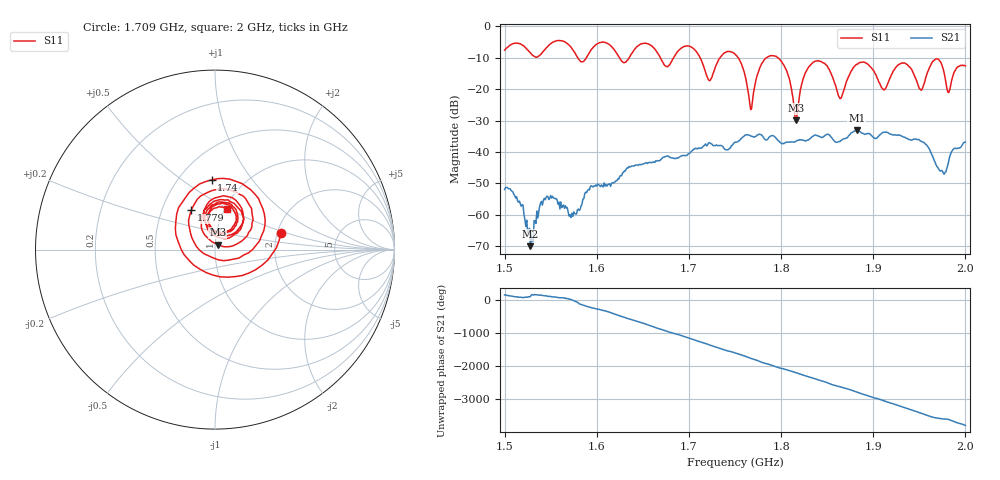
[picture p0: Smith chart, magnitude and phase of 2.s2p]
! NanoVNA-App by SYSJOINT et al v1.1.209 (+OD18)
! Date: 2026-01-21 14:22:12
! Start: 1,5GHz Stop: 2GHz Points: 501
! S-Parameter data: F S11 S21 S12 S22
# Hz S RI R 50
!  Frequency  S11_Real  S11_Imag  S21_Real  S21_Imag  S12_Real  S12_Imag  S22_Real  S22_Imag
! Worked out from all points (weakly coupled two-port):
!   501 points, 1.5 GHz to 2 GHz, reference 50 ohm
!   highest |S21| = -33.06 dB at 1.882 GHz (marker M1); lowest = -70.1 dB at 1.528 GHz (marker M2)
!   lowest |S11| = -29.9 dB at 1.816 GHz (marker M3), VSWR 1.07, Z = 51.4 + j2.91 ohm
!   |S11| at or under -10 dB: 1.712 GHz to 1.734 GHz (21.38 MHz wide, 1.24 % of centre); 1.754 GHz to 1.784 GHz (30.54 MHz wide, 1.73 % of centre); 1.797 GHz to end of sweep (the widest 3 of 6)
!   S12 and S22 are empty: the file has one direction only
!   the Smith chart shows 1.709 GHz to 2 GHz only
!   S11 on the Smith chart (normalised r, x): 1.709 GHz: 2.10, +0.46; 1.74 GHz: 0.71, +0.65; 1.779 GHz: 0.70, +0.33; 2 GHz: 1.02, +0.49
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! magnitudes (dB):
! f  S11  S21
! 1.5 GHz  -7.5  -52.0
! 1.528 GHz  -8.4  -70.1
! 1.545 GHz  -6.9  -54.6
! 1.584 GHz  -11.3  -56.6
! 1.606 GHz  -5.0  -50.8
! 1.667 GHz  -8.9  -42.8
! 1.709 GHz  -8.4  -39.0
! 1.722 GHz  -17.3  -37.0
! 1.74 GHz  -8.2  -39.3
! 1.75 GHz  -8.8  -36.9
! 1.767 GHz  -26.5  -34.9
! 1.779 GHz  -11.8  -34.7
! 1.801 GHz  -11.4  -37.4
! 1.816 GHz  -29.9  -36.6
! 1.834 GHz  -11.7  -35.1
! 1.864 GHz  -23.0  -36.7
! 1.882 GHz  -12.1  -33.1
! 1.917 GHz  -17.4  -34.1
! 1.932 GHz  -11.7  -35.1
! 1.977 GHz  -14.9  -47.1
! 1.982 GHz  -21.0  -42.7
! 2 GHz  -12.6  -36.9
